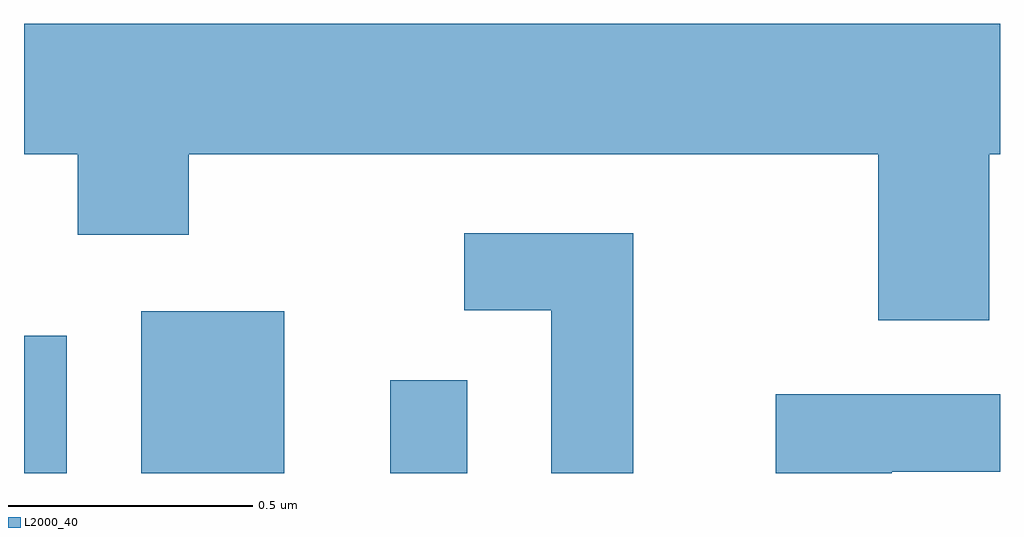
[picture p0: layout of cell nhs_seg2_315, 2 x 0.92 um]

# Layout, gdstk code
import gdstk
lib = gdstk.Library(unit=1e-6, precision=1e-09)
def R(c, l, rs):  # rectangles x0, y0, x1, y1
    for r in rs: c.add(gdstk.rectangle(r[:2], r[2:], *l))
def P(c, l, *ps):  # polygons
    for p in ps: c.add(gdstk.Polygon(p, *l))
L2000_40 = (2000, 40)

nhs_seg2_315 = lib.new_cell('nhs_seg2_315')
R(nhs_seg2_315, L2000_40, [(187.611,1018.802,187.699,1019.084), (187.851,1018.802,188.144,1019.134), (188.361,1018.802,188.519,1018.993)])
P(nhs_seg2_315, L2000_40, [(189.589,1019.456),(189.611,1019.456),(189.611,1019.724),(187.611,1019.724),(187.611,1019.456),(187.721,1019.456),(187.721,1019.291),(187.949,1019.291),(187.949,1019.456),(189.361,1019.456),(189.361,1019.116),(189.589,1019.116)],
  [(188.859,1019.294),(188.513,1019.294),(188.513,1019.136),(188.691,1019.136),(188.691,1018.802),(188.859,1018.802)],
  [(189.389,1018.806),(189.611,1018.806),(189.611,1018.964),(189.151,1018.964),(189.151,1018.802),(189.389,1018.802)])

lib.write_gds('nhs_seg2_315.gds')
